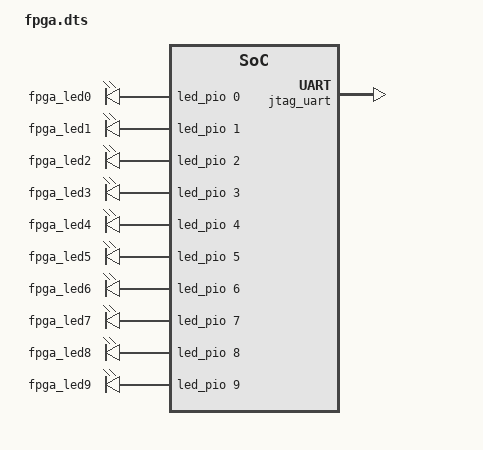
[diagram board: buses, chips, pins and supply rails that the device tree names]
/* 
 * Copyright Altera Corporation (C) 2015. All rights reserved. 
 * 
 * This program is free software; you can redistribute it and/or modify 
 * it under the terms and conditions of the GNU General Public License, 
 * version 2, as published by the Free Software Foundation. 
 * 
 * This program is distributed in the hope it will be useful, but WITHOUT 
 * ANY WARRANTY; without even the implied warranty of MERCHANTABILITY or 
 * FITNESS FOR A PARTICULAR PURPOSE.  See the GNU General Public License for 
 * more details. 
 * 
 * You should have received a copy of the GNU General Public License along with 
 * this program.  If not, see <http://www.gnu.org/licenses/>. 
 */ 
 
 /dts-v1/ /plugin/; 
/ { 
 
   fragment@0 { 
      target-path = "/soc/base-fpga-region"; 
 
      #address-cells = <2>; 
      #size-cells = <1>; 
      __overlay__ { 
         #address-cells = <2>; 
         #size-cells = <1>; 
 
			firmware-name = "soc_system.rbf"; 
			jtag_uart: serial@0x100020000 {
				compatible = "altr,juart-16.1", "altr,juart-1.0";
				reg = <0x00000001 0x00020000 0x00000008>;
				interrupt-parent = <&intc>;
				interrupts = <0 42 4>;
				clocks = <&clk_0>;
			}; //end serial@0x100020000 (jtag_uart)

			ILC: ilc@0x100030000 {
				compatible = "altr,altera_ilc-16.1", "altr,ilc-1.0";
				reg = <0x00000001 0x00030000 0x00000100>;
				interrupt-parent = <&intc>;
				interrupts = <0 40 1 0 41 1 0 42 4>;
				interrupt-names = "dipsw_pio", "button_pio", "jtag_uart";
				interrupt-controller;
				#interrupt-cells = <1>;
				clocks = <&clk_0>;
				altr,sw-fifo-depth = <32>;	/* embeddedsw.dts.params.altr,sw-fifo-depth type NUMBER */
			}; //end ilc@0x100030000 (ILC)       
			sysid_qsys: sysid@0x100010000 {
					compatible = "altr,sysid-16.1", "altr,sysid-1.0";
					reg = <0x00000001 0x00010000 0x00000008>;
					clocks = <&clk_0>;
					id = <2899645186>;	/* embeddedsw.dts.params.id type NUMBER */
					timestamp = <1492502516>;	/* embeddedsw.dts.params.timestamp type NUMBER */
			}; //end sysid@0x100010000 (sysid_qsys)
			button_pio: gpio@0x100005000 {
				compatible = "altr,pio-16.1", "altr,pio-1.0";
				reg = <0x00000001 0x00005000 0x00000010>;
				interrupt-parent = <&intc>;
				interrupts = <0 41 1>;
				clocks = <&clk_0>;
				altr,gpio-bank-width = <4>;	/* embeddedsw.dts.params.altr,gpio-bank-width type NUMBER */
				altr,interrupt-type = <2>;	/* embeddedsw.dts.params.altr,interrupt-type type NUMBER */
				altr,interrupt_type = <2>;	/* embeddedsw.dts.params.altr,interrupt_type type NUMBER */
				edge_type = <1>;	/* embeddedsw.dts.params.edge_type type NUMBER */
				level_trigger = <0>;	/* embeddedsw.dts.params.level_trigger type NUMBER */
				resetvalue = <0>;	/* embeddedsw.dts.params.resetvalue type NUMBER */
				#gpio-cells = <2>;
				gpio-controller;
			}; //end gpio@0x100005000 (button_pio)

			dipsw_pio: gpio@0x100004000 {
				compatible = "altr,pio-16.1", "altr,pio-1.0";
				reg = <0x00000001 0x00004000 0x00000010>;
				interrupt-parent = <&intc>;
				interrupts = <0 40 1>;
				clocks = <&clk_0>;
				altr,gpio-bank-width = <10>;	/* embeddedsw.dts.params.altr,gpio-bank-width type NUMBER */
				altr,interrupt-type = <3>;	/* embeddedsw.dts.params.altr,interrupt-type type NUMBER */
				altr,interrupt_type = <3>;	/* embeddedsw.dts.params.altr,interrupt_type type NUMBER */
				edge_type = <2>;	/* embeddedsw.dts.params.edge_type type NUMBER */
				level_trigger = <0>;	/* embeddedsw.dts.params.level_trigger type NUMBER */
				resetvalue = <0>;	/* embeddedsw.dts.params.resetvalue type NUMBER */
				#gpio-cells = <2>;
				gpio-controller;
			}; //end gpio@0x100004000 (dipsw_pio)

			led_pio: gpio@0x100003000 {
				compatible = "altr,pio-16.1", "altr,pio-1.0";
				reg = <0x00000001 0x00003000 0x00000010>;
				clocks = <&clk_0>;
				altr,gpio-bank-width = <10>;	/* embeddedsw.dts.params.altr,gpio-bank-width type NUMBER */
				resetvalue = <15>;	/* embeddedsw.dts.params.resetvalue type NUMBER */
				#gpio-cells = <2>;
				gpio-controller;
			}; //end gpio@0x100003000 (led_pio)
			fpga_leds: leds {
			compatible = "gpio-leds";	/* appended from boardinfo */
			led_fpga0: fpga0 {
				label = "fpga_led0";	/* appended from boardinfo */
				gpios = <&led_pio 0 0>;	/* appended from boardinfo */
			}; //end fpga0 (led_fpga0)

			led_fpga1: fpga1 {
				label = "fpga_led1";	/* appended from boardinfo */
				gpios = <&led_pio 1 0>;	/* appended from boardinfo */
			}; //end fpga1 (led_fpga1)

			led_fpga2: fpga2 {
				label = "fpga_led2";	/* appended from boardinfo */
				gpios = <&led_pio 2 0>;	/* appended from boardinfo */
			}; //end fpga2 (led_fpga2)

			led_fpga3: fpga3 {
				label = "fpga_led3";	/* appended from boardinfo */
				gpios = <&led_pio 3 0>;	/* appended from boardinfo */
			}; //end fpga3 (led_fpga3)

			led_fpga4: fpga4 {
				label = "fpga_led4";	/* appended from boardinfo */
				gpios = <&led_pio 4 0>;	/* appended from boardinfo */
			}; //end fpga4 (led_fpga4)

			led_fpga5: fpga5 {
				label = "fpga_led5";	/* appended from boardinfo */
				gpios = <&led_pio 5 0>;	/* appended from boardinfo */
			}; //end fpga5 (led_fpga5)

			led_fpga6: fpga6 {
				label = "fpga_led6";	/* appended from boardinfo */
				gpios = <&led_pio 6 0>;	/* appended from boardinfo */
			}; //end fpga6 (led_fpga6)

			led_fpga7: fpga7 {
				label = "fpga_led7";	/* appended from boardinfo */
				gpios = <&led_pio 7 0>;	/* appended from boardinfo */
			}; //end fpga7 (led_fpga7)

			led_fpga8: fpga8 {
				label = "fpga_led8";	/* appended from boardinfo */
				gpios = <&led_pio 8 0>;	/* appended from boardinfo */
			}; //end fpga8 (led_fpga8)

			led_fpga9: fpga9 {
				label = "fpga_led9";	/* appended from boardinfo */
				gpios = <&led_pio 9 0>;	/* appended from boardinfo */
			}; //end fpga9 (led_fpga9)
		}; //end leds (soc_leds)
      }; 
 
   }; 
};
